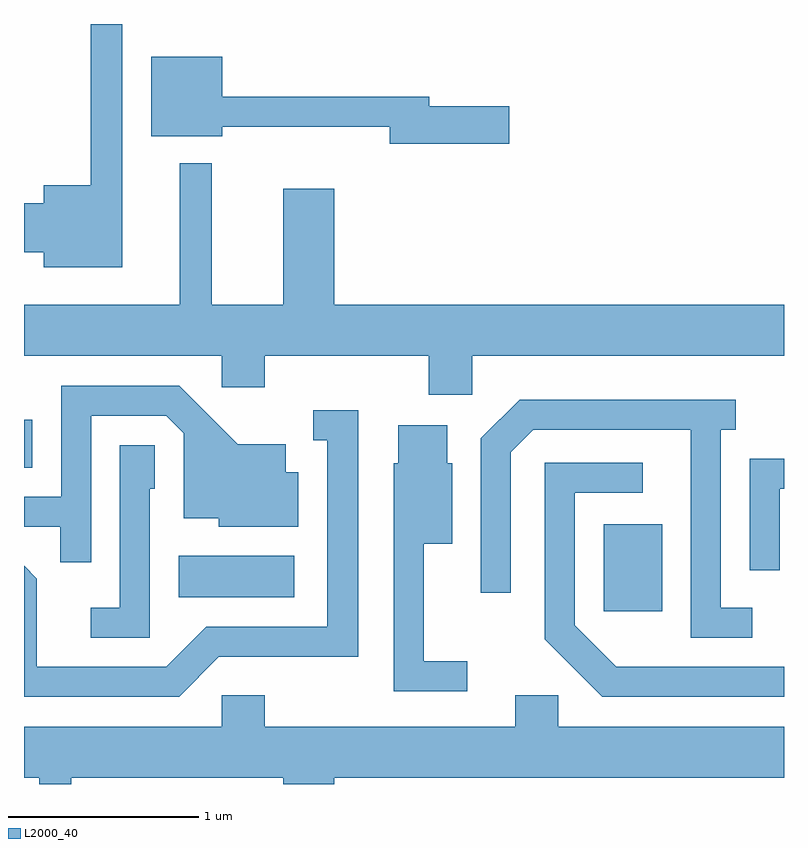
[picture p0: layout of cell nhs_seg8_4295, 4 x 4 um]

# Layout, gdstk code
import gdstk
lib = gdstk.Library(unit=1e-6, precision=1e-09)
def R(c, l, rs):  # rectangles x0, y0, x1, y1
    for r in rs: c.add(gdstk.rectangle(r[:2], r[2:], *l))
def P(c, l, *ps):  # polygons
    for p in ps: c.add(gdstk.Polygon(p, *l))
L2000_40 = (2000, 40)

nhs_seg8_4295 = lib.new_cell('nhs_seg8_4295')
R(nhs_seg8_4295, L2000_40, [(316.661,1877.251,316.969,1877.709), (314.426,1877.326,315.034,1877.544), (313.611,1878.006,313.654,1878.259)])
P(nhs_seg8_4295, L2000_40, [(314.129,1880.342),(313.961,1880.342),(313.961,1879.494),(313.716,1879.494),(313.716,1879.399),(313.611,1879.399),(313.611,1879.141),(313.716,1879.141),(313.716,1879.061),(314.129,1879.061)],
  [(316.164,1879.909),(315.744,1879.909),(315.744,1879.959),(314.654,1879.959),(314.654,1880.169),(314.281,1880.169),(314.281,1879.751),(314.654,1879.751),(314.654,1879.801),(315.536,1879.801),(315.536,1879.711),(316.164,1879.711)],
  [(315.969,1878.596),(317.611,1878.596),(317.611,1878.864),(315.244,1878.864),(315.244,1879.474),(314.976,1879.474),(314.976,1878.864),(314.599,1878.864),(314.599,1879.608),(314.431,1879.608),(314.431,1878.864),(313.611,1878.864),(313.611,1878.596),(314.651,1878.596),(314.651,1878.431),(314.879,1878.431),(314.879,1878.596),(315.741,1878.596),(315.741,1878.391),(315.969,1878.391)],
  [(313.964,1878.281),(314.359,1878.281),(314.451,1878.189),(314.451,1877.741),(314.636,1877.741),(314.636,1877.696),(315.054,1877.696),(315.054,1877.984),(314.989,1877.984),(314.989,1878.129),(314.737,1878.129),(314.427,1878.439),(313.806,1878.439),(313.806,1877.854),(313.611,1877.854),(313.611,1877.696),(313.801,1877.696),(313.801,1877.508),(313.964,1877.508)],
  [(317.443,1877.269),(317.279,1877.269),(317.279,1878.206),(317.358,1878.206),(317.358,1878.364),(316.219,1878.364),(316.016,1878.162),(316.016,1877.348),(316.174,1877.348),(316.174,1878.089),(316.292,1878.206),(317.121,1878.206),(317.121,1877.111),(317.443,1877.111)],
  [(314.637,1877.011),(315.369,1877.011),(315.369,1878.309),(315.133,1878.309),(315.133,1878.151),(315.206,1878.151),(315.206,1877.169),(314.569,1877.169),(314.359,1876.959),(313.679,1876.959),(313.679,1877.422),(313.611,1877.49),(313.611,1876.801),(314.427,1876.801)],
  [(315.943,1876.989),(315.714,1876.989),(315.714,1877.606),(315.864,1877.606),(315.864,1878.029),(315.839,1878.029),(315.839,1878.229),(315.581,1878.229),(315.581,1878.029),(315.556,1878.029),(315.556,1876.831),(315.943,1876.831)],
  [(314.274,1877.896),(314.299,1877.896),(314.299,1878.124),(314.116,1878.124),(314.116,1877.269),(313.963,1877.269),(313.963,1877.111),(314.274,1877.111)],
  [(317.589,1877.896),(317.611,1877.896),(317.611,1878.054),(317.431,1878.054),(317.431,1877.468),(317.589,1877.468)],
  [(317.611,1876.959),(316.727,1876.959),(316.509,1877.177),(316.509,1877.876),(316.868,1877.876),(316.868,1878.034),(316.351,1878.034),(316.351,1877.104),(316.654,1876.801),(317.611,1876.801)],
  [(314.976,1876.342),(315.244,1876.342),(315.244,1876.376),(317.611,1876.376),(317.611,1876.644),(316.424,1876.644),(316.424,1876.809),(316.196,1876.809),(316.196,1876.644),(314.879,1876.644),(314.879,1876.809),(314.651,1876.809),(314.651,1876.644),(313.611,1876.644),(313.611,1876.376),(313.691,1876.376),(313.691,1876.342),(313.859,1876.342),(313.859,1876.376),(314.976,1876.376)])

lib.write_gds('nhs_seg8_4295.gds')
